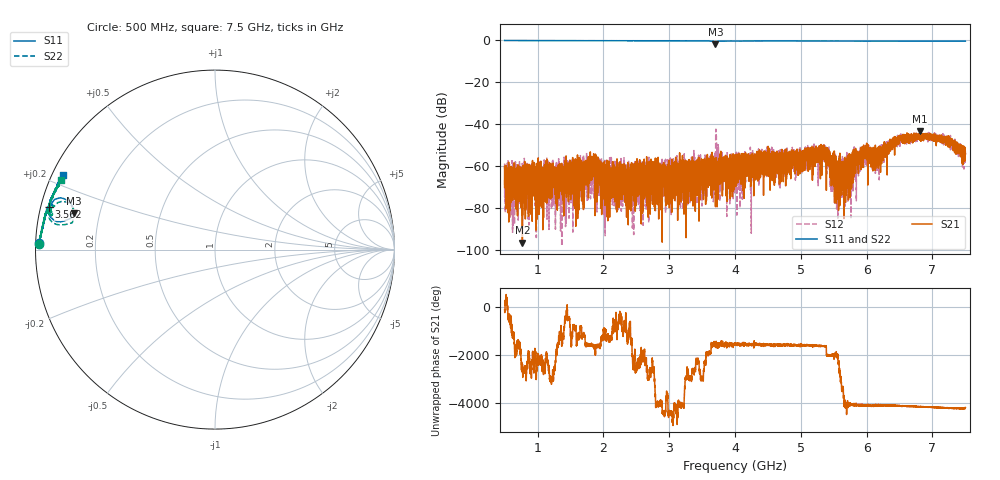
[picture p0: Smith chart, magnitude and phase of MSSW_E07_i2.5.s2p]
!Keysight Technologies,M9374A,MY55442783,A.12.55.05
!Date: Thursday, May 20, 2021 16:57:23
!Correction: S11(Full 2 Port(1,2))
!S21(Full 2 Port(1,2))
!S12(Full 2 Port(1,2))
!S22(Full 2 Port(1,2))
!S2P File: Measurements: S11, S21, S12, S22:
# Hz S  RI  R 50
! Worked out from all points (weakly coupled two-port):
!   7001 points, 500 MHz to 7.5 GHz, reference 50 ohm
!   highest |S21| = -43.20 dB at 6.807 GHz (marker M1); lowest = -96.3 dB at 770 MHz (marker M2)
!   lowest |S11| = -1.8 dB at 3.702 GHz (marker M3), VSWR 9.49, Z = 5.35 + j6.26 ohm
!   |S11| at or under -10 dB: nowhere
!   |S22| runs from -2.0 to -0.2 dB; largest |S21 - S12| = 0.0074
!   S11 on the Smith chart (normalised r, x): 500 MHz: 0.01, +0.02; 3.562 GHz: 0.02, +0.13; 7.5 GHz: 0.03, +0.23
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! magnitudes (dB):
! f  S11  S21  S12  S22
! 500 MHz  -0.2  -60.2  -58.7  -0.2
! 564 MHz  -0.2  -65.9  -69.6  -0.2
! 770 MHz  -0.2  -96.3  -89.5  -0.2
! 1.667 GHz  -0.3  -57.3  -65.3  -0.3
! 1.826 GHz  -0.3  -60.5  -62.6  -0.3
! 2.209 GHz  -0.3  -60.3  -67.9  -0.3
! 2.834 GHz  -0.3  -63.1  -64.9  -0.3
! 3.562 GHz  -0.4  -63.6  -64.8  -0.4
! 3.669 GHz  -0.5  -67.7  -69.5  -0.7
! 3.702 GHz  -1.8  -66.5  -67.6  -2.0
! 3.74 GHz  -0.5  -64.7  -57.2  -0.5
! 3.793 GHz  -0.5  -62.3  -62.4  -0.5
! 4 GHz  -0.4  -63.3  -57.6  -0.4
! 5.167 GHz  -0.4  -57.0  -55.3  -0.4
! 5.396 GHz  -0.4  -58.3  -57.5  -0.4
! 5.549 GHz  -0.4  -69.9  -61.2  -0.4
! 5.655 GHz  -0.4  -68.8  -61.3  -0.4
! 5.956 GHz  -0.5  -55.2  -53.2  -0.5
! 6.334 GHz  -0.5  -54.2  -48.3  -0.5
! 6.807 GHz  -0.5  -43.2  -46.0  -0.5
! 7.241 GHz  -0.5  -45.6  -49.0  -0.5
! 7.5 GHz  -0.5  -54.1  -54.3  -0.5
